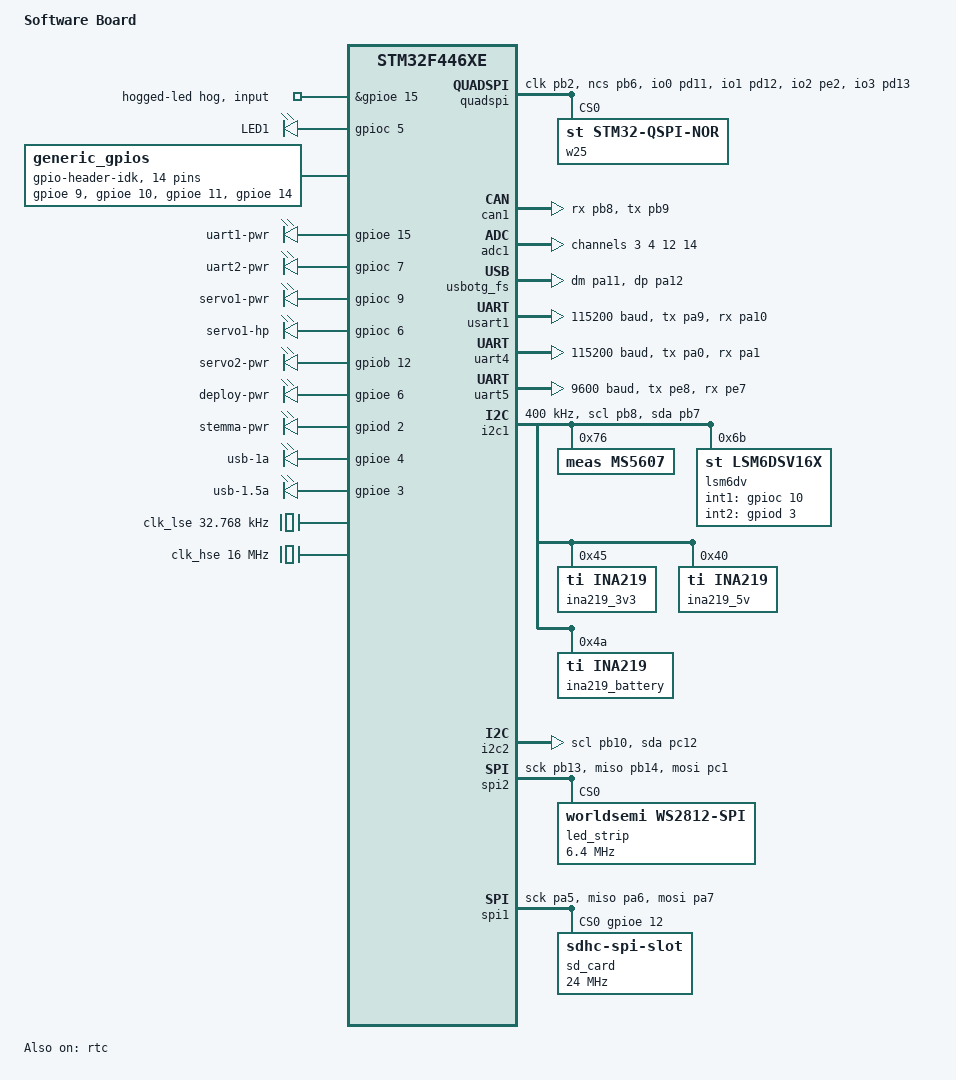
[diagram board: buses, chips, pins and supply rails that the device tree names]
/dts-v1/;
#include <st/f4/stm32f446Xe.dtsi>
#include <st/f4/stm32f446v(c-e)tx-pinctrl.dtsi>
#include <zephyr/dt-bindings/input/input-event-codes.h>
#include <zephyr/dt-bindings/led/led.h>


/ {
	model = "Software Board";
	compatible = "launch,sw_board";

	chosen {
		zephyr,sram = &sram0;
		zephyr,flash = &flash0;
		zephyr,canbus = &can1;
		zephyr,console = &uart4;
		zephyr,shell_uart = &uart4;
		// uart1 =
	};
	aliases {
		led0 = &led1;
		rtc = &rtc;
		led-strip = &led_strip;
	};

	gpio_hog_led: gpio-hog {
		gpio-hog; // Required property
		gpios = <&gpioe 15 GPIO_ACTIVE_HIGH>;
		label = "hogged-led";
	};

	leds: leds {
		compatible = "gpio-leds";
		led1: led1{
			gpios = <&gpioc 5 GPIO_ACTIVE_HIGH>;
			label = "LED1";
		};
	};

	buttons: buttons {
		compatible = "gpio-keys";
		status = "disabled";
		button1 {
			gpios = <&gpioe 0 GPIO_ACTIVE_LOW>;
		};
		button2 {
			gpios = <&gpiob 9 GPIO_ACTIVE_LOW>;
		};
		sd-card-detect {
			gpios = <&gpiob 1 GPIO_ACTIVE_LOW>;
		};
		vbus-detect {
			gpios = <&gpioa 9 GPIO_ACTIVE_HIGH>;
		};
	};

	generic_gpios: generic-gpios {
		compatible = "gpio-header-idk";
		#gpio-cells = <2>;
		gpio-map-mask = <0xffffffff 0xffffffc0>;
		gpio-map-pass-thru = <0 0x3f>;
		gpio-map = <0 0  &gpioe 9  0>, // GPIO-PWR
		<1 0  &gpioe 10 0>, // GPIO 1
		<2 0  &gpioe 11 0>, // GPIO 2
		<3 0  &gpioe 14 0>, // GPIO 3
		<4 0  &gpioe 13 0>, // GPIO 4
		<5 0  &gpiob 14 0>, // GPIO 5 (NOPE)
		<6 0  &gpiod 9  0>, // GPIO 6
		<7 0  &gpiod 8  0>, // GPIO 7
		<8 0  &gpiob 15 0>, // GPIO 8
		<9 0  &gpiod 10 0>, // GPIO 9
		<10 0 &gpiod 14 0>, // GPIO 10
		<11 0 &gpiod 15 0>, // GPIO 11
		<12 0 &gpioc 8  0>, // GPIO 12
		<13 0 &gpiod 5  0>; // GPIO-PWR5
	};
	control_gpios: control-gpios {
		compatible = "gpio-leds";
		uart1_pwr: uart1-pwr{
			gpios = <&gpioe 15 GPIO_ACTIVE_HIGH>;
			label = "uart1-pwr";
		};
		uart2_pwr: uart2-pwr{
			gpios = <&gpioc 7 GPIO_ACTIVE_HIGH>;
			label = "uart2-pwr";
		};

		servo1_pwr: servo1-pwr{
			gpios = <&gpioc 9 GPIO_ACTIVE_HIGH>;
			label = "servo1-pwr";
		};
		servo1_hp: servo1-hp{
			gpios = <&gpioc 6 GPIO_ACTIVE_HIGH>;
			label = "servo1-hp";
		};
		servo2_pwr: servo2-pwr{
			gpios = <&gpiob 12 GPIO_ACTIVE_HIGH>;
			label = "servo2-pwr";
		};
		// FIX THIS SOON
		// servo2_hp: servo2-hp{
			//         gpios = <&gpioc 6 GPIO_ACTIVE_HIGH>;
			//         label = "servo2-hp";
		// };
		deploy_pwr: deploy-pwr{
			gpios = <&gpioe 6 GPIO_ACTIVE_HIGH>;
			label = "deploy-pwr";
		};
		stemma_pwr: stemma-pwr {
			gpios = <&gpiod 2 GPIO_ACTIVE_HIGH>;
			label = "stemma-pwr";
		};

	};

	usb_control: usb-control{
		// pins for selecting
		compatible = "gpio-leds";
		status = "okay";
		// usb_pu: usb-pu{
			//     at HighZ, Internal pull up makes it negotiate high speed
			//     at On,  Pulled up externally negotiating high speed
			//     at Off, Pulled down externally negotiating low speed
			//     gpios = <&gpioe 5 GPIO_ACTIVE_HIGH>;
			//     label = "usb-pu";
		// };
		usb_1a: usb-1a {
			gpios = <&gpioe 4 GPIO_ACTIVE_HIGH>;
			label = "usb-1a";
		};
		usb_15a: usb-15a {
			gpios = <&gpioe 3 GPIO_ACTIVE_HIGH>;
			label = "usb-1.5a";
		};
	};

	// TODO Quadspi
	// CLK PB2
	// CS  PB6
	// IO0 PD11
	// IO1 PD12
	// IO2 PE2
	// IO3 pd13
	// qspi {
		// compatible
	// };


	soc {
		quadspi: spi@a0001000 {
			compatible = "st,stm32-qspi";
			pinctrl-names = "default";
			pinctrl-0 = <&quadspi_clk_pb2 &quadspi_bk1_ncs_pb6
			&quadspi_bk1_io0_pd11 &quadspi_bk1_io1_pd12
			&quadspi_bk1_io2_pe2 &quadspi_bk1_io3_pd13>;
			reg = <0xa0001000 0x400>;
			interrupts = <92 0>;
			clocks = <&rcc STM32_CLOCK(AHB3, 1U)>;
			flash-id = <1>;
			status = "okay";
			#address-cells = <0x1>;
			#size-cells = <0x0>;

			w25: qspi-nor-flash@00000000 {
				compatible = "st,stm32-qspi-nor";
				reg = <0x00000000 DT_SIZE_M(16)>; /* 128 Mbits */
				size = <DT_SIZE_M(128)>; /* 64 Mbits */
				qspi-max-frequency = <DT_FREQ_M(8)>;
				status = "okay";
				spi-bus-width = <4>;
				jedec-id = [ef 40 18];

				writeoc = "PP_1_4_4";

				// reset-gpios = <&gpiod 3 GPIO_ACTIVE_LOW>;
				// reset-gpios-duration = <1>;

			};
		};
	};
};



&can1 {
	pinctrl-0 = <&can1_rx_pb8 &can1_tx_pb9>;
	pinctrl-names = "default";
};


&adc1 {
	status = "okay";
	st,adc-prescaler = <4>;
	#address-cells = <1>;
	#size-cells = <0>;
	cont1: channel@3 {
		reg = <3>;
		zephyr,gain = "ADC_GAIN_1";
		zephyr,reference = "ADC_REF_INTERNAL";
		zephyr,acquisition-time = <ADC_ACQ_TIME_DEFAULT>;
		zephyr,resolution = <12>;
	};
	cont2: channel@4 {
		reg = <4>;
		zephyr,gain = "ADC_GAIN_1";
		zephyr,reference = "ADC_REF_INTERNAL";
		zephyr,acquisition-time = <ADC_ACQ_TIME_DEFAULT>;
		zephyr,resolution = <12>;
	};
	CC1: channel@c {
		reg = <12>;
		zephyr,gain = "ADC_GAIN_1";
		zephyr,reference = "ADC_REF_INTERNAL";
		zephyr,acquisition-time = <ADC_ACQ_TIME_DEFAULT>;
		zephyr,resolution = <12>;
	};
	CC2: channel@e {
		reg = <14>;
		zephyr,gain = "ADC_GAIN_1";
		zephyr,reference = "ADC_REF_INTERNAL";
		zephyr,acquisition-time = <ADC_ACQ_TIME_DEFAULT>;
		zephyr,resolution = <12>;
	};
};


zephyr_udc0: &usbotg_fs {
	pinctrl-0 = <&usb_otg_fs_dm_pa11 &usb_otg_fs_dp_pa12>;
	pinctrl-names = "default";
	maximum-speed = "full-speed";
	// USB VBUS Detection/Control GPIOA9
	cdc_acm_uart0: cdc_acm_uart0 {
		compatible = "zephyr,cdc-acm-uart";
		label = "Zephyr USB CDC-ACM";
	};
};



&clk_lsi {
	status = "okay";
	clock-frequency = <32768>;
};

&clk_lse {
	status = "okay";
	clock-frequency = <32768>;
};

&clk_hse {
	status = "okay";
	clock-frequency = <DT_FREQ_M(16)>;
};

&pll {
	div-m = <8>;
	mul-n = <72>;
	div-p = <2>;
	div-q = <3>;
	clocks = <&clk_hse>;
	status = "okay";
};

&rcc {
	clocks = <&pll>;
	clock-frequency = <DT_FREQ_M(72)>;
	ahb-prescaler = <1>;
	apb1-prescaler = <2>;
	apb2-prescaler = <1>;
};

&usart1 {
	pinctrl-0 = <&usart1_tx_pa9 &usart1_rx_pa10>;
	pinctrl-names = "default";
	current-speed = <115200>;
	status = "okay";
};

&uart4 {
	// UART1 TX1/RX1
	status = "okay";
	pinctrl-0 = <&uart4_tx_pa0 &uart4_rx_pa1>;
	pinctrl-names = "default";
	current-speed = <115200>;
};

&uart5 {
	// UART2 TX2/RX2
	status = "okay";
	pinctrl-0 = <&uart5_tx_pe8 &uart5_rx_pe7>;

	pinctrl-names = "default";
	current-speed = <9600>;
};

&i2c1 {
	pinctrl-0 = <&i2c1_scl_pb8 &i2c1_sda_pb7>;
	pinctrl-names = "default";
	status = "okay";
	clock-frequency = <I2C_BITRATE_FAST>;

	// manually specify these to enable bus recovery
	scl-gpios = <&gpiob 6 GPIO_ACTIVE_HIGH>;
	sda-gpios = <&gpiob 7 GPIO_ACTIVE_HIGH>;

	// MS5607
	ms5607: ms5607@76 {
		// https: //www.te.com/commerce/DocumentDelivery/DDEController?Action=showdoc&DocId=Data+Sheet%7FMS5607-02BA03%7FB2%7Fpdf%7FEnglish%7FENG_DS_MS5607-02BA03_B2.pdf%7FCAT-BLPS0035
		compatible = "meas,ms5607";
		status = "okay";
		reg = <0x76>;
	};
	// LSM6DSVETR
	lsm6dv: lsm6dv@6b {
		status = "okay";
		// https: //github.com/zephyrproject-rtos/zephyr/discussions/72902
		// driver compatible with LSM6DSVETR which is what this sensor actually is
		compatible = "st,lsm6dsv16x";
		reg = <0x6b>;
		int1-gpios = <&gpioc 10 GPIO_ACTIVE_HIGH>;
		int2-gpios = <&gpiod 3 GPIO_ACTIVE_HIGH>;

	};
	ina219_3v3: ina219-3v3@45 {
		// 3.3 Volt line
		status = "okay";
		compatible = "ti,ina219";
		reg = <0x45>;
		brng = <0>; // Set to 0 since we don't expect >16V
		pg = <0>; // 7.5 mV drop.
		sadc = <15>; // Shunt ADC: 12 bit - 128 sample averaging - 68.10 ms
		badc = <15>; // Bus ADC: 12 bit - 128 sample averaging - 68.10 ms
		shunt-milliohm = <5>;
		lsb-microamp = <400>;

	};
	ina219_5v: ina219-5v@40 {
		// Pump Power - expect 5 V
		status = "okay";
		compatible = "ti,ina219";
		reg = <0x40>;
		brng = <0>; // Set to 0 since we don't expect >16V
		pg = <0>; // 7.5 mV drop.
		sadc = <15>; // Shunt ADC: 12 bit - 128 sample averaging - 68.10 ms
		badc = <15>; // Bus ADC: 12 bit - 128 sample averaging - 68.10 ms
		shunt-milliohm = <5>;
		lsb-microamp = <400>;
	};
	ina219_battery: ina219-battery@4a {
		// Pump Power - expect 5 V
		status = "okay";
		compatible = "ti,ina219";
		reg = <0x4a>;
		brng = <0>; // Set to 0 since we don't expect >16V
		pg = <0>; // 7.5 mV drop.
		sadc = <15>; // Shunt ADC: 12 bit - 128 sample averaging - 68.10 ms
		badc = <15>; // Bus ADC: 12 bit - 128 sample averaging - 68.10 ms
		shunt-milliohm = <5>;
		lsb-microamp = <400>;
	};

	// NAU7802SGI (at a later date)
	// addr 0x2a
	// "Set PGA_CAP_EN, Register 0x1C[7]=1 if not using channel 2" - schematic
	// {
		// NAU-DRDY <&gpioc 0 GPIO_ACTIVE_LOW>;
	// }
};

i2cout: &i2c2 {
	// exterior I2C
	pinctrl-0 = <&i2c2_scl_pb10 &i2c2_sda_pc12>;
	pinctrl-names = "default";

};

&dma1 {
	status = "okay";
};
&dma2 {
	status = "okay";
};

&spi2 {
	// all but mosi are unused. ws2812 just needs the one wire but uses spi controller for hardware acceleration
	pinctrl-0 = <&spi2_sck_pb13 &spi2_miso_pb14 &spi2_mosi_pc1>;
	pinctrl-names = "default";
	status = "okay";
	// cs-gpios = <&gpioc 3 GPIO_ACTIVE_LOW>;
	// line-idle-low; // maybe need stm equivalent of this

	led_strip: ws2812@0 {
		compatible = "worldsemi,ws2812-spi";
		status = "okay";
		spi-max-frequency = <DT_FREQ_K(6400)>;

		reg = <0>;
		chain-length = <4>;
		spi-cpha;
		spi-one-frame = <0xf0>; /* 11110000: 625 ns high and 625 ns low */
		spi-zero-frame = <0xc0>; /* 11000000: 312.5 ns high and 937.5 ns low */
		color-mapping = <
		LED_COLOR_ID_GREEN
		LED_COLOR_ID_RED
		LED_COLOR_ID_BLUE>;
	};
};

&spi1 {
	pinctrl-0 = <&spi1_sck_pa5 &spi1_miso_pa6 &spi1_mosi_pa7>;
	pinctrl-names = "default";
	status = "okay";
	cs-gpios = <&gpioe 12 0>;

	// SD Card
	sd_card: sd-card@0 {
		compatible = "zephyr,sdhc-spi-slot";
		reg = <0>;
		status = "okay";
		spi-max-frequency = <DT_FREQ_M(24)>;
		mmc {
			compatible = "zephyr,sdmmc-disk";
			disk-name = "SD";
			status = "okay";
		};
	};
};

&rtc {
	clocks = <&rcc STM32_CLOCK_BUS_APB1 0x10000000>,
	         <&rcc STM32_SRC_LSE RTC_SEL(1)>;
	status = "okay";
};

&backup_sram {
	status = "okay";
};
